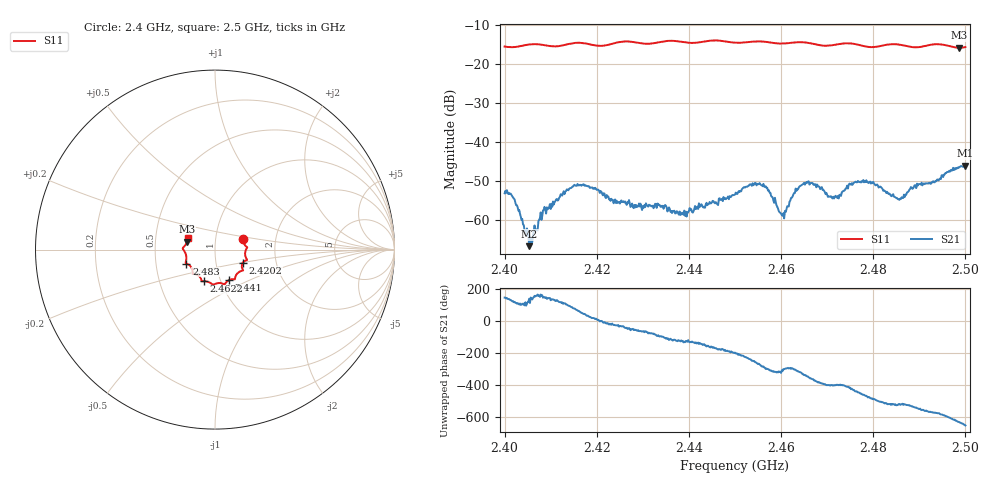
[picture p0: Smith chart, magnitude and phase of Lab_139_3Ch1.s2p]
# Hz S RI R 50
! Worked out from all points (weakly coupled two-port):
!   601 points, 2.4 GHz to 2.5 GHz, reference 50 ohm
!   highest |S21| = -46.16 dB at 2.5 GHz (marker M1); lowest = -66.9 dB at 2.4053 GHz (marker M2)
!   lowest |S11| = -15.8 dB at 2.4987 GHz (marker M3), VSWR 1.39, Z = 36.4 + j3.3 ohm
!   |S11| at or under -10 dB: start of sweep to end of sweep
!   S12 and S22 are empty: the file has one direction only
!   S11 on the Smith chart (normalised r, x): 2.4 GHz: 1.36, +0.17; 2.4202 GHz: 1.35, -0.20; 2.441 GHz: 1.10, -0.39; 2.4622 GHz: 0.83, -0.30; 2.483 GHz: 0.72, -0.12; 2.5 GHz: 0.73, +0.09
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2.4e9  0.1564 0.0606  -0.00177 0.00126  0 0  0 0
2.401833e9  0.1604 0.0382  -0.001 0.00163  0 0  0 0
2.405333e9  0.1778 0.0146  -0.000332 0.000309  0 0  0 0
2.408833e9  0.174 0.00305  -0.00106 0.000833  0 0  0 0
2.416667e9  0.1776 -0.0583  0.00179 0.00204  0 0  0 0
2.420167e9  0.1562 -0.0719  0.00241 0.000147  0 0  0 0
2.427833e9  0.1522 -0.1174  0.000914 -0.00115  0 0  0 0
2.433333e9  0.1131 -0.1523  -4.7e-05 -0.00158  0 0  0 0
2.441e9  0.0769 -0.1703  -0.000922 -0.000881  0 0  0 0
2.45e9  0.0267 -0.1864  -0.00196 0.000714  0 0  0 0
2.455667e9  -0.0127 -0.1946  0.000623 0.0027  0 0  0 0
2.460167e9  -0.0445 -0.1778  0.000734 0.000872  0 0  0 0
2.462167e9  -0.063 -0.1766  0.000977 0.00162  0 0  0 0
2.4645e9  -0.0736 -0.176  0.00237 0.00147  0 0  0 0
2.466667e9  -0.0766 -0.1668  0.00293 -0.000222  0 0  0 0
2.471e9  -0.1059 -0.1382  0.00142 -0.00129  0 0  0 0
2.478e9  -0.1262 -0.1137  -0.000707 -0.00293  0 0  0 0
2.483e9  -0.1592 -0.0781  -0.00214 -0.000754  0 0  0 0
2.483333e9  -0.1608 -0.0774  -0.00202 -0.000693  0 0  0 0
2.486e9  -0.1625 -0.0678  -0.00177 -0.000479  0 0  0 0
2.498667e9  -0.1559 0.0441  0.000352 0.00471  0 0  0 0
2.5e9  -0.1529 0.0627  0.00209 0.00445  0 0  0 0
